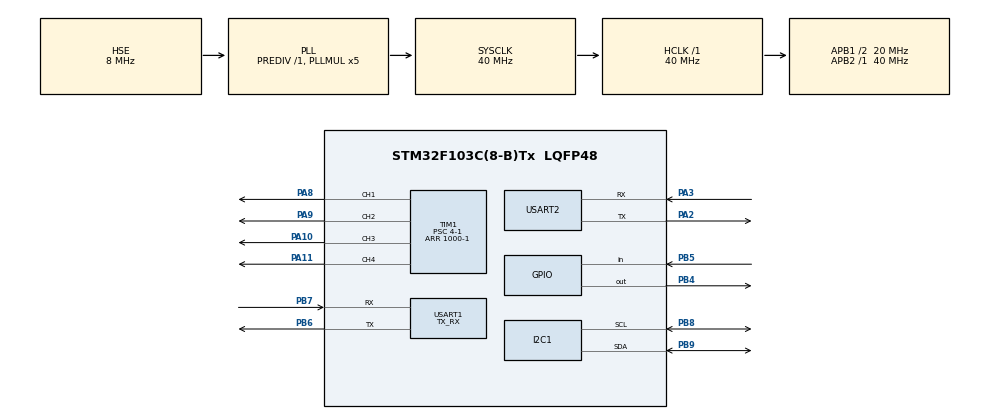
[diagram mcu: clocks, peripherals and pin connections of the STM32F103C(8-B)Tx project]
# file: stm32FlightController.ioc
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I2C1.I2C_Mode=I2C_Fast
Mcu.Family=STM32F1
Mcu.Name=STM32F103C(8-B)Tx
Mcu.Package=LQFP48
NVIC.PriorityGroup=NVIC_PRIORITYGROUP_4
PA10.GPIO_Speed=GPIO_SPEED_FREQ_HIGH
PA10.Signal=S_TIM1_CH3
PA11.GPIO_Speed=GPIO_SPEED_FREQ_HIGH
PA11.Signal=S_TIM1_CH4
PA13.Mode=Serial_Wire
PA13.Signal=SYS_JTMS-SWDIO
PA14.Mode=Serial_Wire
PA14.Signal=SYS_JTCK-SWCLK
PA2.Mode=Asynchronous
PA2.Signal=USART2_TX
PA3.Mode=Asynchronous
PA3.Signal=USART2_RX
PA8.GPIO_Speed=GPIO_SPEED_FREQ_HIGH
PA8.Signal=S_TIM1_CH1
PA9.GPIO_Speed=GPIO_SPEED_FREQ_HIGH
PA9.Signal=S_TIM1_CH2
PB4.GPIO_Speed=GPIO_SPEED_FREQ_HIGH
PB4.Signal=GPIO_Output
PB5.Signal=GPIO_Input
PB6.Mode=Asynchronous
PB6.Signal=USART1_TX
PB7.Mode=Asynchronous
PB7.Signal=USART1_RX
PB8.Mode=I2C
PB8.Signal=I2C1_SCL
PB9.Mode=I2C
PB9.Signal=I2C1_SDA
PD0-OSC_IN.Mode=HSE-External-Oscillator
PD0-OSC_IN.Signal=RCC_OSC_IN
PD1-OSC_OUT.Mode=HSE-External-Oscillator
PD1-OSC_OUT.Signal=RCC_OSC_OUT
ProjectManager.HeapSize=0x200
ProjectManager.StackSize=0x400
ProjectManager.TargetToolchain=STM32CubeIDE
RCC.AHBFreq_Value=40000000
RCC.APB1CLKDivider=RCC_HCLK_DIV2
RCC.APB1Freq_Value=20000000
RCC.APB1TimFreq_Value=40000000
RCC.APB2Freq_Value=40000000
RCC.APB2TimFreq_Value=40000000
RCC.HCLKFreq_Value=40000000
RCC.PLLMUL=RCC_PLL_MUL5
RCC.PLLSourceVirtual=RCC_PLLSOURCE_HSE
RCC.SYSCLKFreq_VALUE=40000000
RCC.SYSCLKSource=RCC_SYSCLKSOURCE_PLLCLK
RCC.USBFreq_Value=40000000
SH.S_TIM1_CH1.0=TIM1_CH1,PWM Generation1 CH1
SH.S_TIM1_CH2.0=TIM1_CH2,PWM Generation2 CH2
SH.S_TIM1_CH3.0=TIM1_CH3,PWM Generation3 CH3
SH.S_TIM1_CH4.0=TIM1_CH4,PWM Generation4 CH4
TIM1.Channel-PWM\ Generation1\ CH1=TIM_CHANNEL_1
TIM1.Channel-PWM\ Generation2\ CH2=TIM_CHANNEL_2
TIM1.Channel-PWM\ Generation3\ CH3=TIM_CHANNEL_3
TIM1.Channel-PWM\ Generation4\ CH4=TIM_CHANNEL_4
TIM1.Period=1000-1
TIM1.Prescaler=4-1
USART1.Mode=MODE_TX_RX
USART1.VirtualMode=VM_ASYNC
USART2.VirtualMode=VM_ASYNC
VP_TIM1_VS_ClockSourceINT.Mode=Internal
board=custom

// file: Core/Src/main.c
/* USER CODE BEGIN Header */
/**
  ******************************************************************************
  * @file           : main.c
  * @brief          : Main program body
  ******************************************************************************
  * @attention
  *
  * Copyright (c) 2024 STMicroelectronics.
  * All rights reserved.
  *
  * This software is licensed under terms that can be found in the LICENSE file
  * in the root directory of this software component.
  * If no LICENSE file comes with this software, it is provided AS-IS.
  *
  ******************************************************************************
  */
/* USER CODE END Header */
#include "main.h"
#include "i2c.h"
#include "tim.h"
#include "usart.h"
#include "gpio.h"

/* USER CODE BEGIN Includes */
#include <stdio.h>
#include "MPU6050.h"
/* USER CODE END Includes */

/* USER CODE BEGIN PTD */
int _write(int file, uint8_t* p, int len)
{
	if(HAL_UART_Transmit(&huart2, p, len, len) == HAL_OK )
	{
		return len;
	}
	return 0;
}
/* USER CODE END PTD */

/* USER CODE BEGIN PD */
#define BIND_PULSE_COUNT 7
/* USER CODE END PD */

void SystemClock_Config(void);

int main(void)
{

  /* MCU Configuration--------------------------------------------------------*/

  /* Reset of all peripherals, Initializes the Flash interface and the Systick. */
  HAL_Init();

  /* Configure the system clock */
  SystemClock_Config();

  /* Initialize all configured peripherals */
  MX_GPIO_Init();
  MX_TIM1_Init();
  MX_USART1_UART_Init();
  MX_I2C1_Init();
  MX_USART2_UART_Init();
  /* USER CODE BEGIN 2 */

  for(int i = 0; i < BIND_PULSE_COUNT; i++)
  {
	  HAL_GPIO_WritePin(GPIOB, GPIO_PIN_4, GPIO_PIN_SET);
	  HAL_Delay(5);
	  HAL_GPIO_WritePin(GPIOB, GPIO_PIN_4, GPIO_PIN_RESET);
	  HAL_Delay(5);
  }

  TIM1->CCR1 = 250;
  TIM1->CCR2 = 500;
  TIM1->CCR3 = 750;
  TIM1->CCR4 = 500;

  HAL_TIM_PWM_Start(&htim1, TIM_CHANNEL_1);
  HAL_TIM_PWM_Start(&htim1, TIM_CHANNEL_2);
  HAL_TIM_PWM_Start(&htim1, TIM_CHANNEL_3);
  HAL_TIM_PWM_Start(&htim1, TIM_CHANNEL_4);

  MPU6050_Initialization();

  /* USER CODE END 2 */

  /* Infinite loop */
  while (1)
  {

    /* USER CODE BEGIN 3 */
	if(MPU6050_DataReady() == 1)
	{
		MPU6050_ProcessData(&MPU6050);
		//printf("%f, %f, %f\n", MPU6050.acc_x, MPU6050.acc_y, MPU6050.acc_z);
		printf("%f, %f, %f\n", MPU6050.gyro_x, MPU6050.gyro_y, MPU6050.gyro_z);
		//printf("%d, %d, %d\n", MPU6050.acc_x_raw, MPU6050.acc_y_raw, MPU6050.acc_z_raw);
	}
  }
  /* USER CODE END 3 */
}

void SystemClock_Config(void)
{
  RCC_OscInitTypeDef RCC_OscInitStruct = {0};
  RCC_ClkInitTypeDef RCC_ClkInitStruct = {0};

  /** Initializes the RCC Oscillators according to the specified parameters
  * in the RCC_OscInitTypeDef structure.
  */
  RCC_OscInitStruct.OscillatorType = RCC_OSCILLATORTYPE_HSE;
  RCC_OscInitStruct.HSEState = RCC_HSE_ON;
  RCC_OscInitStruct.HSEPredivValue = RCC_HSE_PREDIV_DIV1;
  RCC_OscInitStruct.HSIState = RCC_HSI_ON;
  RCC_OscInitStruct.PLL.PLLState = RCC_PLL_ON;
  RCC_OscInitStruct.PLL.PLLSource = RCC_PLLSOURCE_HSE;
  RCC_OscInitStruct.PLL.PLLMUL = RCC_PLL_MUL5;
  if (HAL_RCC_OscConfig(&RCC_OscInitStruct) != HAL_OK)
  {
    Error_Handler();
  }

  /** Initializes the CPU, AHB and APB buses clocks
  */
  RCC_ClkInitStruct.ClockType = RCC_CLOCKTYPE_HCLK|RCC_CLOCKTYPE_SYSCLK
                              |RCC_CLOCKTYPE_PCLK1|RCC_CLOCKTYPE_PCLK2;
  RCC_ClkInitStruct.SYSCLKSource = RCC_SYSCLKSOURCE_PLLCLK;
  RCC_ClkInitStruct.AHBCLKDivider = RCC_SYSCLK_DIV1;
  RCC_ClkInitStruct.APB1CLKDivider = RCC_HCLK_DIV2;
  RCC_ClkInitStruct.APB2CLKDivider = RCC_HCLK_DIV1;

  if (HAL_RCC_ClockConfig(&RCC_ClkInitStruct, FLASH_LATENCY_1) != HAL_OK)
  {
    Error_Handler();
  }
}

void Error_Handler(void)
{
  __disable_irq();
  while (1)
  {
  }
}
